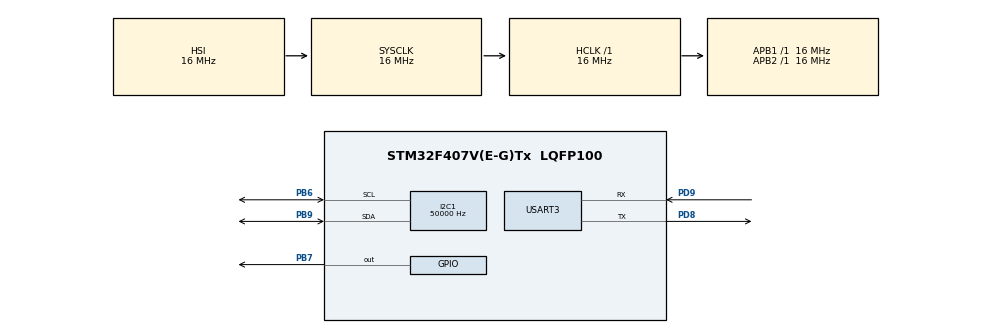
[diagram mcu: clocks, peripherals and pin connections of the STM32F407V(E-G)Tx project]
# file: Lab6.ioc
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I2C1.ClockSpeed=50000
Mcu.Family=STM32F4
Mcu.Name=STM32F407V(E-G)Tx
Mcu.Package=LQFP100
NVIC.PriorityGroup=NVIC_PRIORITYGROUP_4
PB6.Mode=I2C
PB6.Signal=I2C1_SCL
PB7.Signal=GPIO_Output
PB9.Mode=I2C
PB9.Signal=I2C1_SDA
PD8.Mode=Asynchronous
PD8.Signal=USART3_TX
PD9.Mode=Asynchronous
PD9.Signal=USART3_RX
ProjectManager.HeapSize=0x200
ProjectManager.StackSize=0x400
ProjectManager.TargetToolchain=STM32CubeIDE
RCC.AHBFreq_Value=16000000
RCC.APB1Freq_Value=16000000
RCC.APB2Freq_Value=16000000
RCC.CortexFreq_Value=16000000
RCC.HSE_VALUE=25000000
RCC.HSI_VALUE=16000000
RCC.LSE_VALUE=32768
RCC.SYSCLKFreq_VALUE=16000000
RCC.VCOOutputFreq_Value=192000000
USART3.VirtualMode=VM_ASYNC
board=custom

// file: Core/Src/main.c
/* USER CODE BEGIN Header */
/**
  ******************************************************************************
  * @file           : main.c
  * @brief          : Main program body
  ******************************************************************************
  * @attention
  *
  * <h2><center>&copy; Copyright (c) 2021 STMicroelectronics.
  * All rights reserved.</center></h2>
  *
  * This software component is licensed by ST under BSD 3-Clause license,
  * the "License"; You may not use this file except in compliance with the
  * License. You may obtain a copy of the License at:
  *                        opensource.org/licenses/BSD-3-Clause
  *
  ******************************************************************************
  */
/* USER CODE END Header */
#include "main.h"

/* USER CODE BEGIN Includes */

#include <stdbool.h>
#include "math.h"
#include <stdio.h>               //needed library for sprintf
#include <string.h>             //needed library for strlen
#define SLAVE_ADDRESS 0x80     //PCA9685 I2C bus address   0b10000000
#define WAITTIME 1000

/* USER CODE END Includes */

I2C_HandleTypeDef hi2c1;

UART_HandleTypeDef huart3;

/* USER CODE BEGIN PV */

uint8_t TxBuffer[2];
uint8_t counter_for_menu=1;
uint8_t duty_cycle=50;
uint8_t sleep_bit=0;
uint8_t MODE0_reg = 0x00;
uint8_t PRE_SCALE_reg = 0xFE;
uint16_t frequency=300;

/* USER CODE END PV */

void SystemClock_Config(void);
static void MX_GPIO_Init(void);
static void MX_I2C1_Init(void);
static void MX_USART3_UART_Init(void);

int main(void)
{

  /* MCU Configuration--------------------------------------------------------*/

  /* Reset of all peripherals, Initializes the Flash interface and the Systick. */
  HAL_Init();

  /* Configure the system clock */
  SystemClock_Config();

  /* Initialize all configured peripherals */
  MX_GPIO_Init();
  MX_I2C1_Init();
  MX_USART3_UART_Init();

  /* Infinite loop */
  /* USER CODE BEGIN WHILE */

  HAL_Delay(10);
  HAL_GPIO_WritePin(GPIOB, GPIO_PIN_7, GPIO_PIN_RESET);   //turn on of the PB7 (output enable signal)

  while (1)
  {
	   	  uint8_t rcvBuf;
	  	  HAL_StatusTypeDef result;
	  	  result = HAL_UART_Receive(&huart3, &rcvBuf, 1, 1000);

	  	  if(counter_for_menu){
	  	  HAL_UART_Transmit(&huart3, (uint8_t *)"\033[2J", strlen("\033[2J"),10);  //Putty screen clear
	  	  HAL_UART_Transmit(&huart3, (uint8_t *)"\r\nMenu:\r\npress 0 for all_led_off\r\npress 1 for all_led_on\r\npress 2 for PWM_on"
	  			  "\r\npress 3 for duty cycle increase by 10\r\npress 4 for duty cycle decrease by 10\r\npress 5 for sleep mode on/off"
	  			  "\r\npress 6 for frequency increase by 100\r\npress 7 for frequency decrease by 100\r\n",
	  			  strlen("\r\nMenu:\r\npress 0 for all_led_off\r\npress 1 for all_led_on\r\npress 2 for PWM_on"
	  		  			  "\r\npress 3 for duty cycle increase by 10\r\npress 4 for duty cycle decrease by 10\r\npress 5 for sleep mode on/off"
	  		  			  "\r\npress 6 for frequency increase by 100\r\npress 7 for frequency decrease by 100\r\n"),1000);
	  	  counter_for_menu--;
	  	  }

  	  	  if (result == HAL_OK){

	  		  switch(rcvBuf){

	  			  case '0':
	  				 all_led_off(&hi2c1,TxBuffer);
	  				  HAL_UART_Transmit(&huart3, (uint8_t *)"ALL LED OFF\r\n", strlen("ALL LED OFF\r\n"),10);
	  				  break;

	  			  case '1':
	  				  all_led_on(&hi2c1,TxBuffer);
	  				  HAL_UART_Transmit(&huart3, (uint8_t *)"ALL LED ON\r\n", strlen("ALL LED ON\r\n"),10);
	  				  break;

	  			  case '2':
	  				  pwm_on(&hi2c1,TxBuffer);
	  				  HAL_UART_Transmit(&huart3, (uint8_t *)"PWM ON\r\n", strlen("PWM ON\r\n"),10);
	  				  break;

	  			  case '3':
	  				  duty_cycle = (duty_cycle==100) ? 100 : (duty_cycle + 10);
	  				  change_duty_cycle(duty_cycle,&hi2c1,TxBuffer);
					  HAL_UART_Transmit(&huart3, (uint8_t *)"duty cycle increase by 10\r\n", strlen("duty cycle increase by 10\r\n"),10);
					  break;

	  			  case '4':
	  				  duty_cycle=(duty_cycle==10) ? 10 : (duty_cycle-10);
	  				  change_duty_cycle(duty_cycle,&hi2c1,TxBuffer);
					  HAL_UART_Transmit(&huart3, (uint8_t *)"duty cycle decrease by 10\r\n", strlen("duty cycle decrease by 10\r\n"),10);
					  break;

	  			  case '5':
	  				  sleep_bit = (sleep_bit == 1) ? 0 : 1;
	  				  sleep_mode(&hi2c1, sleep_bit);
	  				  HAL_UART_Transmit(&huart3, (uint8_t *)"Sleep mode\r\n", strlen("Sleep mode\r\n"),10);
	  				  break;

	  			  case '6':
	  				 frequency=(frequency==1500) ? 1520 : (frequency+100);  //maximum PWM frequency is 1526 Hz
	  				 PCA9685_Frequency_Set(&hi2c1,frequency);
	  				 HAL_UART_Transmit(&huart3, (uint8_t *)"Frequency increase\r\n", strlen("Frequency increase\r\n"),10);
	  				 break;

	  			  case '7':
	  				 frequency=(frequency==100) ? 100 : (frequency-100);  //minimum PWM frequency is 24 Hz
	  				 PCA9685_Frequency_Set(&hi2c1,frequency);
	  				 HAL_UART_Transmit(&huart3, (uint8_t *)"Frequency decrease\r\n", strlen("Frequency decrease\r\n"),10);
	  				 break;

	  			  default:
	  				  HAL_UART_Transmit(&huart3, (uint8_t *)"Unexpected_command\r\n", strlen("Unexpected_command\r\n"),10);
	  				  break;
	  		  }
	  	  }

    /* USER CODE END WHILE */

  }
}

void SystemClock_Config(void)
{
  RCC_OscInitTypeDef RCC_OscInitStruct = {0};
  RCC_ClkInitTypeDef RCC_ClkInitStruct = {0};

  /** Configure the main internal regulator output voltage
  */
  __HAL_RCC_PWR_CLK_ENABLE();
  __HAL_PWR_VOLTAGESCALING_CONFIG(PWR_REGULATOR_VOLTAGE_SCALE1);
  /** Initializes the RCC Oscillators according to the specified parameters
  * in the RCC_OscInitTypeDef structure.
  */
  RCC_OscInitStruct.OscillatorType = RCC_OSCILLATORTYPE_HSI;
  RCC_OscInitStruct.HSIState = RCC_HSI_ON;
  RCC_OscInitStruct.HSICalibrationValue = RCC_HSICALIBRATION_DEFAULT;
  RCC_OscInitStruct.PLL.PLLState = RCC_PLL_NONE;
  if (HAL_RCC_OscConfig(&RCC_OscInitStruct) != HAL_OK)
  {
    Error_Handler();
  }
  /** Initializes the CPU, AHB and APB buses clocks
  */
  RCC_ClkInitStruct.ClockType = RCC_CLOCKTYPE_HCLK|RCC_CLOCKTYPE_SYSCLK
                              |RCC_CLOCKTYPE_PCLK1|RCC_CLOCKTYPE_PCLK2;
  RCC_ClkInitStruct.SYSCLKSource = RCC_SYSCLKSOURCE_HSI;
  RCC_ClkInitStruct.AHBCLKDivider = RCC_SYSCLK_DIV1;
  RCC_ClkInitStruct.APB1CLKDivider = RCC_HCLK_DIV1;
  RCC_ClkInitStruct.APB2CLKDivider = RCC_HCLK_DIV1;

  if (HAL_RCC_ClockConfig(&RCC_ClkInitStruct, FLASH_LATENCY_0) != HAL_OK)
  {
    Error_Handler();
  }
}

static void MX_I2C1_Init(void)
{

  hi2c1.Instance = I2C1;
  hi2c1.Init.ClockSpeed = 100000;
  hi2c1.Init.DutyCycle = I2C_DUTYCYCLE_2;
  hi2c1.Init.OwnAddress1 = 0;
  hi2c1.Init.AddressingMode = I2C_ADDRESSINGMODE_7BIT;
  hi2c1.Init.DualAddressMode = I2C_DUALADDRESS_DISABLE;
  hi2c1.Init.OwnAddress2 = 0;
  hi2c1.Init.GeneralCallMode = I2C_GENERALCALL_DISABLE;
  hi2c1.Init.NoStretchMode = I2C_NOSTRETCH_DISABLE;
  if (HAL_I2C_Init(&hi2c1) != HAL_OK)
  {
    Error_Handler();
  }

}

static void MX_USART3_UART_Init(void)
{

  huart3.Instance = USART3;
  huart3.Init.BaudRate = 115200;
  huart3.Init.WordLength = UART_WORDLENGTH_8B;
  huart3.Init.StopBits = UART_STOPBITS_1;
  huart3.Init.Parity = UART_PARITY_NONE;
  huart3.Init.Mode = UART_MODE_TX_RX;
  huart3.Init.HwFlowCtl = UART_HWCONTROL_NONE;
  huart3.Init.OverSampling = UART_OVERSAMPLING_16;
  if (HAL_UART_Init(&huart3) != HAL_OK)
  {
    Error_Handler();
  }

}

static void MX_GPIO_Init(void)
{
  GPIO_InitTypeDef GPIO_InitStruct = {0};

  /* GPIO Ports Clock Enable */
  __HAL_RCC_GPIOD_CLK_ENABLE();
  __HAL_RCC_GPIOB_CLK_ENABLE();

  /*Configure GPIO pin Output Level */
  HAL_GPIO_WritePin(GPIOB, GPIO_PIN_7, GPIO_PIN_RESET);

  /*Configure GPIO pin : PB7 */
  GPIO_InitStruct.Pin = GPIO_PIN_7;
  GPIO_InitStruct.Mode = GPIO_MODE_OUTPUT_PP;
  GPIO_InitStruct.Pull = GPIO_NOPULL;
  GPIO_InitStruct.Speed = GPIO_SPEED_FREQ_LOW;
  HAL_GPIO_Init(GPIOB, &GPIO_InitStruct);

}

void Error_Handler(void)
{
  __disable_irq();
  while (1)
  {
  }
}

/************************ (C) COPYRIGHT STMicroelectronics *****END OF FILE****/
